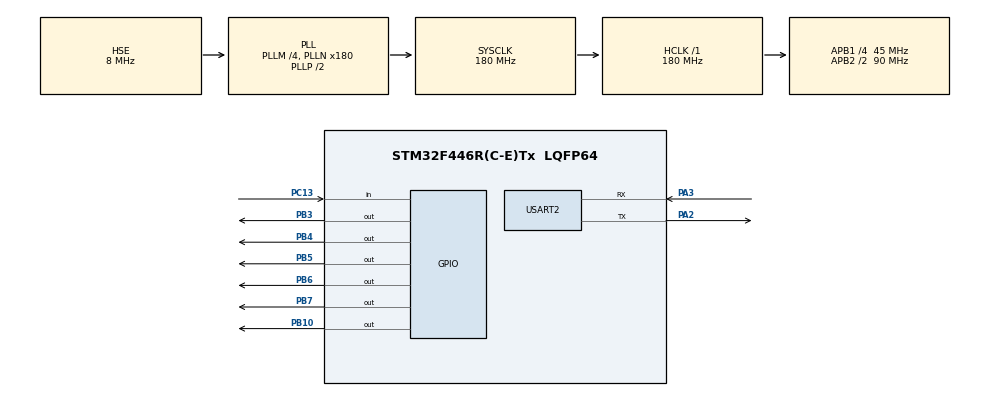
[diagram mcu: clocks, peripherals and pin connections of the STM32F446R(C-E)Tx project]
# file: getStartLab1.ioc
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FREERTOS.Tasks01=Task1,24,128,StartTask1,Default,NULL,Dynamic,NULL,NULL;Task2,24,128,StartTask2,Default,NULL,Dynamic,NULL,NULL;Task3,24,128,StartTask3,Default,NULL,Dynamic,NULL,NULL;Task5,24,128,StartTask5,Default,NULL,Dynamic,NULL,NULL;Task6,24,128,StartTask6,Default,NULL,Dynamic,NULL,NULL;Task7,24,128,StartTask7,Default,NULL,Dynamic,NULL,NULL
FREERTOS.configUSE_NEWLIB_REENTRANT=1
Mcu.Family=STM32F4
Mcu.Name=STM32F446R(C-E)Tx
Mcu.Package=LQFP64
NVIC.PriorityGroup=NVIC_PRIORITYGROUP_4
NVIC.TIM6_DAC_IRQn=true\:15\:0\:false\:false\:true\:false\:false\:true\:true
NVIC.TimeBase=TIM6_DAC_IRQn
NVIC.TimeBaseIP=TIM6
PA13.Mode=Serial_Wire
PA13.Signal=SYS_JTMS-SWDIO
PA14.Mode=Serial_Wire
PA14.Signal=SYS_JTCK-SWCLK
PA2.Mode=Asynchronous
PA2.Signal=USART2_TX
PA3.Mode=Asynchronous
PA3.Signal=USART2_RX
PB10.Signal=GPIO_Output
PB3.Signal=GPIO_Output
PB4.Signal=GPIO_Output
PB5.Signal=GPIO_Output
PB6.Signal=GPIO_Output
PB7.Signal=GPIO_Output
PC13.Signal=GPIO_Input
PH0-OSC_IN.Mode=HSE-External-Oscillator
PH0-OSC_IN.Signal=RCC_OSC_IN
PH1-OSC_OUT.Mode=HSE-External-Oscillator
PH1-OSC_OUT.Signal=RCC_OSC_OUT
ProjectManager.HeapSize=0x200
ProjectManager.StackSize=0x400
ProjectManager.TargetToolchain=STM32CubeIDE
RCC.48MHZClocksFreq_Value=84000000
RCC.AHBFreq_Value=180000000
RCC.APB1CLKDivider=RCC_HCLK_DIV4
RCC.APB1Freq_Value=45000000
RCC.APB1TimFreq_Value=90000000
RCC.APB2CLKDivider=RCC_HCLK_DIV2
RCC.APB2Freq_Value=90000000
RCC.APB2TimFreq_Value=180000000
RCC.CortexFreq_Value=180000000
RCC.FLatency-AdvancedSettings=FLASH_LATENCY_5
RCC.HCLKFreq_Value=180000000
RCC.HSE_VALUE=8000000
RCC.HSI_VALUE=16000000
RCC.PLLM=4
RCC.PLLN=180
RCC.PLLSourceVirtual=RCC_PLLSOURCE_HSE
RCC.SYSCLKFreq_VALUE=180000000
RCC.SYSCLKSource=RCC_SYSCLKSOURCE_PLLCLK
RCC.USBFreq_Value=180000000
RCC.VCOOutputFreq_Value=360000000
USART2.VirtualMode=VM_ASYNC
VP_FREERTOS_VS_CMSIS_V2.Mode=CMSIS_V2
VP_SYS_VS_tim6.Mode=TIM6
board=NUCLEO-F446RE

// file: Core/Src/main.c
/* USER CODE BEGIN Header */
/**
  ******************************************************************************
  * @file           : main.c
  * @brief          : Main program body
  ******************************************************************************
  * @attention
  *
  * Copyright (c) 2024 STMicroelectronics.
  * All rights reserved.
  *
  * This software is licensed under terms that can be found in the LICENSE file
  * in the root directory of this software component.
  * If no LICENSE file comes with this software, it is provided AS-IS.
  *
  ******************************************************************************
  */
/* USER CODE END Header */
#include "main.h"
#include "cmsis_os.h"

UART_HandleTypeDef huart2;

/* Definitions for Task1 */
osThreadId_t Task1Handle;
const osThreadAttr_t Task1_attributes = {
  .name = "Task1",
  .stack_size = 128 * 4,
  .priority = (osPriority_t) osPriorityNormal,
};
/* Definitions for Task2 */
osThreadId_t Task2Handle;
const osThreadAttr_t Task2_attributes = {
  .name = "Task2",
  .stack_size = 128 * 4,
  .priority = (osPriority_t) osPriorityNormal,
};
/* Definitions for Task3 */
osThreadId_t Task3Handle;
const osThreadAttr_t Task3_attributes = {
  .name = "Task3",
  .stack_size = 128 * 4,
  .priority = (osPriority_t) osPriorityNormal,
};
/* Definitions for Task5 */
osThreadId_t Task5Handle;
const osThreadAttr_t Task5_attributes = {
  .name = "Task5",
  .stack_size = 128 * 4,
  .priority = (osPriority_t) osPriorityNormal,
};
/* Definitions for Task6 */
osThreadId_t Task6Handle;
const osThreadAttr_t Task6_attributes = {
  .name = "Task6",
  .stack_size = 128 * 4,
  .priority = (osPriority_t) osPriorityNormal,
};
/* Definitions for Task7 */
osThreadId_t Task7Handle;
const osThreadAttr_t Task7_attributes = {
  .name = "Task7",
  .stack_size = 128 * 4,
  .priority = (osPriority_t) osPriorityNormal,
};

void SystemClock_Config(void);
static void MX_GPIO_Init(void);
static void MX_USART2_UART_Init(void);
void StartTask1(void *argument);
void StartTask2(void *argument);
void StartTask3(void *argument);
void StartTask5(void *argument);
void StartTask6(void *argument);
void StartTask7(void *argument);

/* USER CODE BEGIN 0 */
uint8_t dataTask1[] = "Task1: How are you?\r\n";
uint8_t dataTask2[] = "Task2: I am fine and you.\r\n";
uint8_t dataTask3[] = "Task3: It is nice you see here, Task3\r\n";

int flag = 0;

/* USER CODE END 0 */

int main(void)
{

  /* MCU Configuration--------------------------------------------------------*/

  /* Reset of all peripherals, Initializes the Flash interface and the Systick. */
  HAL_Init();

  /* Configure the system clock */
  SystemClock_Config();

  /* Initialize all configured peripherals */
  MX_GPIO_Init();
  MX_USART2_UART_Init();

  /* Init scheduler */
  osKernelInitialize();

  /* Create the thread(s) */
  /* creation of Task1 */
  Task1Handle = osThreadNew(StartTask1, NULL, &Task1_attributes);

  /* creation of Task2 */
  Task2Handle = osThreadNew(StartTask2, NULL, &Task2_attributes);

  /* creation of Task3 */
  Task3Handle = osThreadNew(StartTask3, NULL, &Task3_attributes);

  /* creation of Task5 */
  Task5Handle = osThreadNew(StartTask5, NULL, &Task5_attributes);

  /* creation of Task6 */
  Task6Handle = osThreadNew(StartTask6, NULL, &Task6_attributes);

  /* creation of Task7 */
  Task7Handle = osThreadNew(StartTask7, NULL, &Task7_attributes);

  /* Start scheduler */
  osKernelStart();

  /* We should never get here as control is now taken by the scheduler */
  /* Infinite loop */
  while (1)
  {

  }
}

void SystemClock_Config(void)
{
  RCC_OscInitTypeDef RCC_OscInitStruct = {0};
  RCC_ClkInitTypeDef RCC_ClkInitStruct = {0};

  /** Configure the main internal regulator output voltage
  */
  __HAL_RCC_PWR_CLK_ENABLE();
  __HAL_PWR_VOLTAGESCALING_CONFIG(PWR_REGULATOR_VOLTAGE_SCALE1);

  /** Initializes the RCC Oscillators according to the specified parameters
  * in the RCC_OscInitTypeDef structure.
  */
  RCC_OscInitStruct.OscillatorType = RCC_OSCILLATORTYPE_HSE;
  RCC_OscInitStruct.HSEState = RCC_HSE_ON;
  RCC_OscInitStruct.PLL.PLLState = RCC_PLL_ON;
  RCC_OscInitStruct.PLL.PLLSource = RCC_PLLSOURCE_HSE;
  RCC_OscInitStruct.PLL.PLLM = 4;
  RCC_OscInitStruct.PLL.PLLN = 180;
  RCC_OscInitStruct.PLL.PLLP = RCC_PLLP_DIV2;
  RCC_OscInitStruct.PLL.PLLQ = 2;
  RCC_OscInitStruct.PLL.PLLR = 2;
  if (HAL_RCC_OscConfig(&RCC_OscInitStruct) != HAL_OK)
  {
    Error_Handler();
  }

  /** Activate the Over-Drive mode
  */
  if (HAL_PWREx_EnableOverDrive() != HAL_OK)
  {
    Error_Handler();
  }

  /** Initializes the CPU, AHB and APB buses clocks
  */
  RCC_ClkInitStruct.ClockType = RCC_CLOCKTYPE_HCLK|RCC_CLOCKTYPE_SYSCLK
                              |RCC_CLOCKTYPE_PCLK1|RCC_CLOCKTYPE_PCLK2;
  RCC_ClkInitStruct.SYSCLKSource = RCC_SYSCLKSOURCE_PLLCLK;
  RCC_ClkInitStruct.AHBCLKDivider = RCC_SYSCLK_DIV1;
  RCC_ClkInitStruct.APB1CLKDivider = RCC_HCLK_DIV4;
  RCC_ClkInitStruct.APB2CLKDivider = RCC_HCLK_DIV2;

  if (HAL_RCC_ClockConfig(&RCC_ClkInitStruct, FLASH_LATENCY_5) != HAL_OK)
  {
    Error_Handler();
  }
}

static void MX_USART2_UART_Init(void)
{

  huart2.Instance = USART2;
  huart2.Init.BaudRate = 115200;
  huart2.Init.WordLength = UART_WORDLENGTH_8B;
  huart2.Init.StopBits = UART_STOPBITS_1;
  huart2.Init.Parity = UART_PARITY_NONE;
  huart2.Init.Mode = UART_MODE_TX_RX;
  huart2.Init.HwFlowCtl = UART_HWCONTROL_NONE;
  huart2.Init.OverSampling = UART_OVERSAMPLING_16;
  if (HAL_UART_Init(&huart2) != HAL_OK)
  {
    Error_Handler();
  }

}

static void MX_GPIO_Init(void)
{
  GPIO_InitTypeDef GPIO_InitStruct = {0};

  /* GPIO Ports Clock Enable */
  __HAL_RCC_GPIOC_CLK_ENABLE();
  __HAL_RCC_GPIOH_CLK_ENABLE();
  __HAL_RCC_GPIOA_CLK_ENABLE();
  __HAL_RCC_GPIOB_CLK_ENABLE();

  /*Configure GPIO pin Output Level */
  HAL_GPIO_WritePin(GPIOB, GPIO_PIN_10|GPIO_PIN_4|GPIO_PIN_5
                          |GPIO_PIN_7, GPIO_PIN_RESET);

  HAL_GPIO_WritePin(GPIOB,GPIO_PIN_3|GPIO_PIN_6, GPIO_PIN_SET);

  /*Configure GPIO pin : PC13 */
  GPIO_InitStruct.Pin = GPIO_PIN_13;
  GPIO_InitStruct.Mode = GPIO_MODE_INPUT;
  GPIO_InitStruct.Pull = GPIO_NOPULL;
  HAL_GPIO_Init(GPIOC, &GPIO_InitStruct);

  /*Configure GPIO pins : PB10 PB3 PB4 PB5
                           PB6 PB7 */
  GPIO_InitStruct.Pin = GPIO_PIN_10|GPIO_PIN_3|GPIO_PIN_4|GPIO_PIN_5
                          |GPIO_PIN_6|GPIO_PIN_7;
  GPIO_InitStruct.Mode = GPIO_MODE_OUTPUT_PP;
  GPIO_InitStruct.Pull = GPIO_NOPULL;
  GPIO_InitStruct.Speed = GPIO_SPEED_FREQ_LOW;
  HAL_GPIO_Init(GPIOB, &GPIO_InitStruct);

}

void StartTask1(void *argument)
{
  /* USER CODE BEGIN 5 */
  /* Infinite loop */
  for(;;)
  {
	  if(flag)
	      {
		    HAL_GPIO_TogglePin(GPIOB, GPIO_PIN_3); // Turn off green light
	        osDelay(17000);
	        HAL_GPIO_TogglePin(GPIOB, GPIO_PIN_3); // Turn on green light
	      }

    }
  /* USER CODE END 5 */
}

void StartTask2(void *argument)
{
  /* USER CODE BEGIN StartTask2 */
  /* Infinite loop */
  for(;;)
  {
	  if(flag)
	      {
		    HAL_GPIO_TogglePin(GPIOB, GPIO_PIN_4); // Turn on orange light
	        osDelay(3000); // Wait for 3 seconds
	        HAL_GPIO_TogglePin(GPIOB, GPIO_PIN_4); // Turn off orange light
	        osDelay(12000);
	        HAL_GPIO_TogglePin(GPIOB, GPIO_PIN_4);
	        osDelay(2000);
	        HAL_GPIO_TogglePin(GPIOB, GPIO_PIN_4);

	      }

  }
  /* USER CODE END StartTask2 */
}

void StartTask3(void *argument)
{
  /* USER CODE BEGIN StartTask3 */
  /* Infinite loop */
  for(;;)
  {
	  if(flag)
	  {
		    osDelay(3000);
		    HAL_GPIO_TogglePin(GPIOB, GPIO_PIN_5); // Turn on red light
	        osDelay(14000); // Wait for 1 second
	        HAL_GPIO_TogglePin(GPIOB, GPIO_PIN_5);// Turn off red light
	        flag = 0;// Reset flag
	      }

  }
  /* USER CODE END StartTask3 */
}

void StartTask5(void *argument)
{
  /* USER CODE BEGIN StartTask5 */
  /* Infinite loop */
  for(;;)
  {
	  uint8_t str1[] = "I am waiting push-button\r\n";
	  HAL_UART_Transmit(&huart2, str1, sizeof(str1), 1000);
	  while(HAL_GPIO_ReadPin(GPIOC, GPIO_PIN_13));
	  flag = 1;
	  uint8_t str2[] = "I got push-button\r\n";
	  HAL_UART_Transmit(&huart2, str2, sizeof(str2), 1000);
	  osDelay(500);
  }
  /* USER CODE END StartTask5 */
}

void StartTask6(void *argument)
{
  /* USER CODE BEGIN StartTask6 */
  /* Infinite loop */
  for(;;)
  {
  if(flag)
      {
      osDelay(4000); // Wait for 4 second
      HAL_GPIO_TogglePin(GPIOB, GPIO_PIN_6);

      }
  }
  /* USER CODE END StartTask6 */
}

void StartTask7(void *argument)
{
  /* USER CODE BEGIN StartTask7 */
  /* Infinite loop */
  for(;;)
  {
	  if(flag)
	        {
		  osDelay(4000);
		  HAL_GPIO_TogglePin(GPIOB, GPIO_PIN_7); // Turn on pedestrian green light
		      osDelay(10000); // Wait for 10 seconds
		       HAL_GPIO_TogglePin(GPIOB, GPIO_PIN_7); // Turn off pedestrian green light
		 	  flag = 0;

	        }
  }
  /* USER CODE END StartTask7 */
}

void HAL_TIM_PeriodElapsedCallback(TIM_HandleTypeDef *htim)
{
  if (htim->Instance == TIM6) {
    HAL_IncTick();
  }
}

void Error_Handler(void)
{
  __disable_irq();
  while (1)
  {
  }
}
